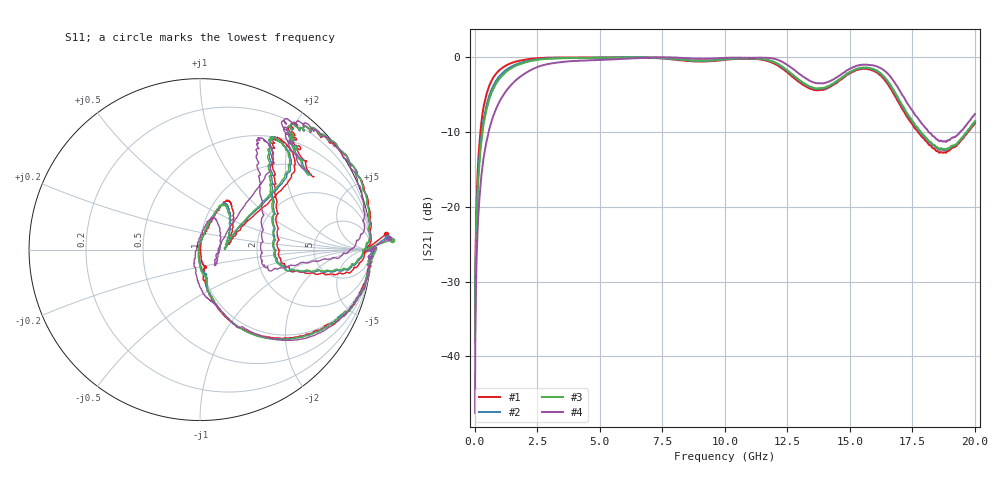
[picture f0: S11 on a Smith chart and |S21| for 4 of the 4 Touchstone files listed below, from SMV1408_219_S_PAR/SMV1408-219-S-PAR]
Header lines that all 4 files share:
! Skyworks SMV1408-219 De-embedded S-Parameter Data
! Created  11-5-2013
! 2 Port Network Data
! Mounted on Board # SK41159-3 Rev 1 in Series, Cathode is connected to RF1 as Input( Pin 1) and Anode is connected RF2 as Output(Pin 2)
! Temperature = +25 °C
! RF traces and connectors are de-embedded using TRL calibration and standards
! Reference planes are package pins
! Pin 1 Input port (S-Port1), Pin 2 Output port (S-port2)
! Dev # 1
#  HZ  S  DB  R  50.00
! Rohde & Schwarz ZVA24 4Ports - Version 2.90 - 1145.1110k26 SN: 100216
! Measurements: S11 S21 S12 S22
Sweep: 10 MHz to 20 GHz
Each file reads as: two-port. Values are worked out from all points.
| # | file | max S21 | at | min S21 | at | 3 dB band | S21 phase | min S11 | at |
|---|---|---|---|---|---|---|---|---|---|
| 1 | SMV1408-219-S-PAR-Vr-2V.s2p | -0.06 dB | 6.14 GHz | -35.9 dB | 10 MHz | 690 MHz-12.84 GHz | -18 deg at 10.01 GHz | -48.3 dB | 6.3 GHz |
| 2 | SMV1408-219-S-PAR-Vr-4V.s2p | -0.06 dB | 6.38 GHz | -38.1 dB | 10 MHz | 890 MHz-12.93 GHz | -17 deg at 10.01 GHz | -46.1 dB | 6.54 GHz |
| 3 | SMV1408-219-S-PAR-Vr-5V.s2p | -0.06 dB | 6.66 GHz | -37.6 dB | 10 MHz | 960 MHz-12.96 GHz | -16 deg at 10.01 GHz | -42.4 dB | 6.67 GHz |
| 4 | SMV1408-219-S-PAR-Vr-20V.s2p | -0.05 dB | 7.6 GHz | -47.5 dB | 10 MHz | 1.67 GHz-13.32 GHz | -10 deg at 10.01 GHz | -34.3 dB | 7.53 GHz |
